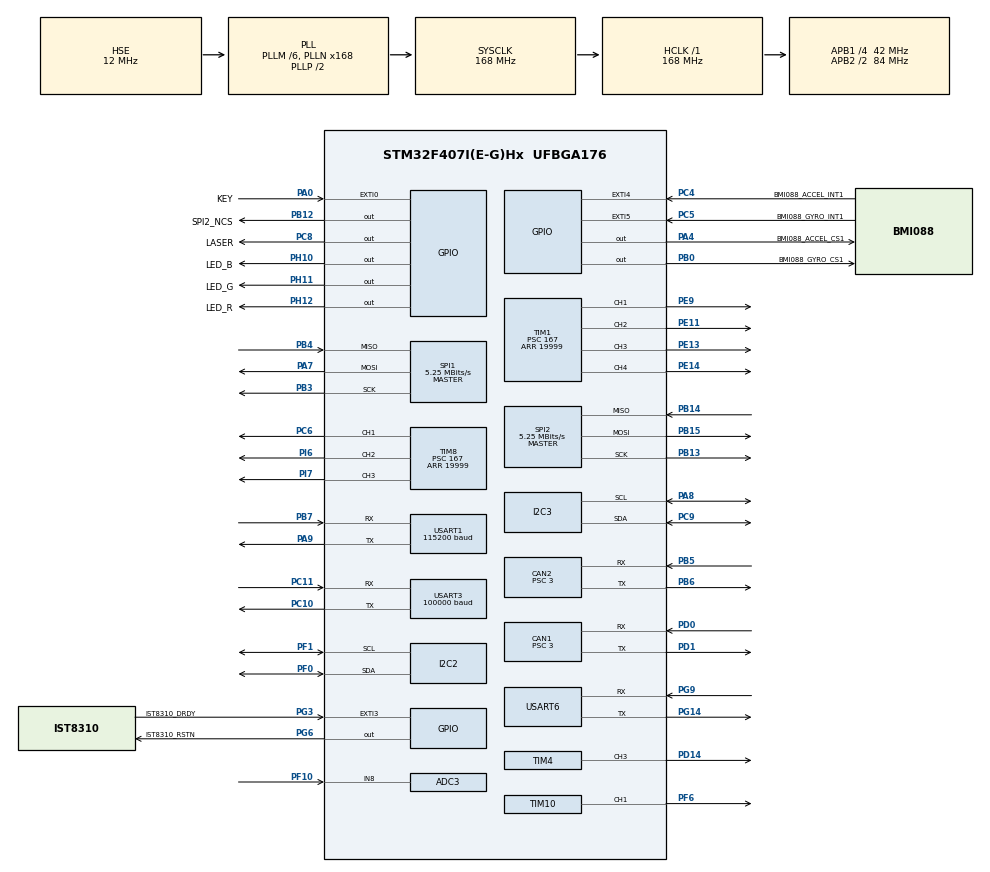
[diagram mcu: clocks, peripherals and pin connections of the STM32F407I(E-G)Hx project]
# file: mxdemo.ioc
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ADC1.Channel-0\#ChannelRegularConversion=ADC_CHANNEL_VREFINT
ADC1.NbrOfConversionFlag=1
ADC1.Rank-0\#ChannelRegularConversion=1
ADC1.SamplingTime-0\#ChannelRegularConversion=ADC_SAMPLETIME_3CYCLES
ADC1.master=1
ADC3.Channel-0\#ChannelRegularConversion=ADC_CHANNEL_8
ADC3.NbrOfConversionFlag=1
ADC3.Rank-0\#ChannelRegularConversion=1
ADC3.SamplingTime-0\#ChannelRegularConversion=ADC_SAMPLETIME_3CYCLES
CAN1.BS1=CAN_BS1_10TQ
CAN1.BS2=CAN_BS2_3TQ
CAN1.CalculateBaudRate=1000000
CAN1.CalculateTimeBit=999.99
CAN1.CalculateTimeQuantum=71.42857142857143
CAN1.Prescaler=3
CAN2.BS1=CAN_BS1_10TQ
CAN2.BS2=CAN_BS2_3TQ
CAN2.CalculateBaudRate=1000000
CAN2.CalculateTimeBit=999.99
CAN2.CalculateTimeQuantum=71.42857142857143
CAN2.Prescaler=3
Dma.Request0=USART3_RX
Dma.Request1=USART1_RX
Dma.USART1_RX.1.Direction=DMA_PERIPH_TO_MEMORY
Dma.USART1_RX.1.FIFOMode=DMA_FIFOMODE_DISABLE
Dma.USART1_RX.1.Instance=DMA2_Stream2
Dma.USART1_RX.1.MemDataAlignment=DMA_MDATAALIGN_BYTE
Dma.USART1_RX.1.MemInc=DMA_MINC_ENABLE
Dma.USART1_RX.1.Mode=DMA_CIRCULAR
Dma.USART1_RX.1.PeriphDataAlignment=DMA_PDATAALIGN_BYTE
Dma.USART1_RX.1.PeriphInc=DMA_PINC_DISABLE
Dma.USART1_RX.1.Priority=DMA_PRIORITY_VERY_HIGH
Dma.USART3_RX.0.Direction=DMA_PERIPH_TO_MEMORY
Dma.USART3_RX.0.FIFOMode=DMA_FIFOMODE_DISABLE
Dma.USART3_RX.0.Instance=DMA1_Stream1
Dma.USART3_RX.0.MemDataAlignment=DMA_MDATAALIGN_BYTE
Dma.USART3_RX.0.MemInc=DMA_MINC_ENABLE
Dma.USART3_RX.0.Mode=DMA_CIRCULAR
Dma.USART3_RX.0.PeriphDataAlignment=DMA_PDATAALIGN_BYTE
Dma.USART3_RX.0.PeriphInc=DMA_PINC_DISABLE
Dma.USART3_RX.0.Priority=DMA_PRIORITY_VERY_HIGH
I2C2.I2C_Mode=I2C_Fast
I2C3.I2C_Mode=I2C_Fast
Mcu.Family=STM32F4
Mcu.Name=STM32F407I(E-G)Hx
Mcu.Package=UFBGA176
NVIC.CAN1_RX0_IRQn=true\:0\:0\:false\:false\:true\:true\:true
NVIC.CAN2_RX0_IRQn=true\:0\:0\:false\:false\:true\:true\:true
NVIC.DMA1_Stream1_IRQn=true\:0\:0\:false\:false\:true\:false\:true
NVIC.DMA2_Stream2_IRQn=true\:0\:0\:false\:false\:true\:false\:true
NVIC.EXTI0_IRQn=true\:0\:0\:false\:false\:true\:true\:true
NVIC.EXTI3_IRQn=true\:0\:0\:false\:false\:true\:true\:true
NVIC.EXTI4_IRQn=true\:0\:0\:false\:false\:true\:true\:true
NVIC.EXTI9_5_IRQn=true\:0\:0\:false\:false\:true\:true\:true
NVIC.PriorityGroup=NVIC_PRIORITYGROUP_4
NVIC.TIM1_BRK_TIM9_IRQn=true\:0\:0\:false\:false\:true\:true\:true
NVIC.TIM1_TRG_COM_TIM11_IRQn=true\:0\:0\:false\:false\:true\:true\:true
NVIC.TIM3_IRQn=true\:0\:0\:false\:false\:true\:true\:true
NVIC.TIM6_DAC_IRQn=true\:0\:0\:false\:false\:true\:true\:true
NVIC.TIM7_IRQn=true\:0\:0\:false\:false\:true\:true\:true
NVIC.TIM8_BRK_TIM12_IRQn=true\:0\:0\:false\:false\:true\:true\:true
NVIC.TIM8_TRG_COM_TIM14_IRQn=true\:0\:0\:false\:false\:true\:true\:true
NVIC.USART1_IRQn=true\:0\:0\:false\:false\:true\:true\:true
NVIC.USART3_IRQn=true\:0\:0\:false\:false\:true\:true\:true
NVIC.USART6_IRQn=true\:0\:0\:false\:false\:true\:true\:true
PA0-WKUP.GPIO_Label=KEY
PA0-WKUP.GPIO_ModeDefaultEXTI=GPIO_MODE_IT_FALLING
PA0-WKUP.Signal=GPXTI0
PA13.Mode=Serial_Wire
PA13.Signal=SYS_JTMS-SWDIO
PA14.Mode=Serial_Wire
PA14.Signal=SYS_JTCK-SWCLK
PA4.GPIO_Label=BMI088_ACCEL_CS1
PA4.GPIO_PuPd=GPIO_PULLUP
PA4.GPIO_Speed=GPIO_SPEED_FREQ_HIGH
PA4.PinState=GPIO_PIN_SET
PA4.Signal=GPIO_Output
PA7.Mode=Full_Duplex_Master
PA7.Signal=SPI1_MOSI
PA8.Mode=I2C
PA8.Signal=I2C3_SCL
PA9.Mode=Asynchronous
PA9.Signal=USART1_TX
PB0.GPIO_Label=BMI088_GYRO_CS1
PB0.GPIO_PuPd=GPIO_PULLUP
PB0.GPIO_Speed=GPIO_SPEED_FREQ_HIGH
PB0.PinState=GPIO_PIN_SET
PB0.Signal=GPIO_Output
PB12.GPIO_Label=SPI2_NCS
PB12.GPIO_PuPd=GPIO_PULLUP
PB12.GPIO_Speed=GPIO_SPEED_FREQ_HIGH
PB12.PinState=GPIO_PIN_SET
PB12.Signal=GPIO_Output
PB13.Mode=Full_Duplex_Master
PB13.Signal=SPI2_SCK
PB14.Mode=Full_Duplex_Master
PB14.Signal=SPI2_MISO
PB15.Mode=Full_Duplex_Master
PB15.Signal=SPI2_MOSI
PB3.Mode=Full_Duplex_Master
PB3.Signal=SPI1_SCK
PB4.Mode=Full_Duplex_Master
PB4.Signal=SPI1_MISO
PB5.Mode=CAN_Activate
PB5.Signal=CAN2_RX
PB6.Mode=CAN_Activate
PB6.Signal=CAN2_TX
PB7.Mode=Asynchronous
PB7.Signal=USART1_RX
PC10.Mode=Asynchronous
PC10.Signal=USART3_TX
PC11.Mode=Asynchronous
PC11.Signal=USART3_RX
PC4.GPIO_Label=BMI088_ACCEL_INT1
PC4.GPIO_ModeDefaultEXTI=GPIO_MODE_IT_FALLING
PC4.GPIO_PuPd=GPIO_PULLUP
PC4.Signal=GPXTI4
PC5.GPIO_Label=BMI088_GYRO_INT1
PC5.GPIO_ModeDefaultEXTI=GPIO_MODE_IT_FALLING
PC5.GPIO_PuPd=GPIO_PULLUP
PC5.Signal=GPXTI5
PC6.Signal=S_TIM8_CH1
PC8.GPIO_Label=LASER
PC8.Signal=GPIO_Output
PC9.Mode=I2C
PC9.Signal=I2C3_SDA
PD0.Mode=CAN_Activate
PD0.Signal=CAN1_RX
PD1.Mode=CAN_Activate
PD1.Signal=CAN1_TX
PD14.Signal=S_TIM4_CH3
PE11.Signal=S_TIM1_CH2
PE13.Signal=S_TIM1_CH3
PE14.Signal=S_TIM1_CH4
PE9.Signal=S_TIM1_CH1
PF0.Mode=I2C
PF0.Signal=I2C2_SDA
PF1.Mode=I2C
PF1.Signal=I2C2_SCL
PF10.Mode=IN8
PF10.Signal=ADC3_IN8
PF6.Signal=S_TIM10_CH1
PG14.Mode=Asynchronous
PG14.Signal=USART6_TX
PG3.GPIO_Label=IST8310_DRDY
PG3.GPIO_ModeDefaultEXTI=GPIO_MODE_IT_FALLING
PG3.GPIO_PuPd=GPIO_PULLUP
PG3.Signal=GPXTI3
PG6.GPIO_Label=IST8310_RSTN
PG6.PinState=GPIO_PIN_SET
PG6.Signal=GPIO_Output
PG9.Mode=Asynchronous
PG9.Signal=USART6_RX
PH0-OSC_IN.Mode=HSE-External-Oscillator
PH0-OSC_IN.Signal=RCC_OSC_IN
PH1-OSC_OUT.Mode=HSE-External-Oscillator
PH1-OSC_OUT.Signal=RCC_OSC_OUT
PH10.GPIO_Label=LED_B
PH10.Signal=GPIO_Output
PH11.GPIO_Label=LED_G
PH11.Signal=GPIO_Output
PH12.GPIO_Label=LED_R
PH12.Signal=GPIO_Output
PI6.Signal=S_TIM8_CH2
PI7.Signal=S_TIM8_CH3
ProjectManager.HeapSize=0x400
ProjectManager.StackSize=0x800
ProjectManager.TargetToolchain=MDK-ARM V5.27
RCC.48MHZClocksFreq_Value=84000000
RCC.AHBFreq_Value=168000000
RCC.APB1CLKDivider=RCC_HCLK_DIV4
RCC.APB1Freq_Value=42000000
RCC.APB1TimFreq_Value=84000000
RCC.APB2CLKDivider=RCC_HCLK_DIV2
RCC.APB2Freq_Value=84000000
RCC.APB2TimFreq_Value=168000000
RCC.CortexFreq_Value=168000000
RCC.HCLKFreq_Value=168000000
RCC.HSE_VALUE=12000000
RCC.HSI_VALUE=16000000
RCC.LSE_VALUE=32768
RCC.PLLM=6
RCC.PLLN=168
RCC.PLLSourceVirtual=RCC_PLLSOURCE_HSE
RCC.SYSCLKFreq_VALUE=168000000
RCC.SYSCLKSource=RCC_SYSCLKSOURCE_PLLCLK
RCC.VCOOutputFreq_Value=336000000
SH.S_TIM10_CH1.0=TIM10_CH1,PWM Generation1 CH1
SH.S_TIM1_CH1.0=TIM1_CH1,PWM Generation1 CH1
SH.S_TIM1_CH2.0=TIM1_CH2,PWM Generation2 CH2
SH.S_TIM1_CH3.0=TIM1_CH3,PWM Generation3 CH3
SH.S_TIM1_CH4.0=TIM1_CH4,PWM Generation4 CH4
SH.S_TIM4_CH3.0=TIM4_CH3,PWM Generation3 CH3
SH.S_TIM8_CH1.0=TIM8_CH1,PWM Generation1 CH1
SH.S_TIM8_CH2.0=TIM8_CH2,PWM Generation2 CH2
SH.S_TIM8_CH3.0=TIM8_CH3,PWM Generation3 CH3
SPI1.BaudRatePrescaler=SPI_BAUDRATEPRESCALER_16
SPI1.CLKPhase=SPI_PHASE_2EDGE
SPI1.CLKPolarity=SPI_POLARITY_HIGH
SPI1.CalculateBaudRate=5.25 MBits/s
SPI1.Direction=SPI_DIRECTION_2LINES
SPI1.Mode=SPI_MODE_MASTER
SPI1.VirtualType=VM_MASTER
SPI2.BaudRatePrescaler=SPI_BAUDRATEPRESCALER_8
SPI2.CalculateBaudRate=5.25 MBits/s
SPI2.Direction=SPI_DIRECTION_2LINES
SPI2.Mode=SPI_MODE_MASTER
SPI2.VirtualType=VM_MASTER
TIM1.Channel-PWM\ Generation1\ CH1=TIM_CHANNEL_1
TIM1.Channel-PWM\ Generation2\ CH2=TIM_CHANNEL_2
TIM1.Channel-PWM\ Generation3\ CH3=TIM_CHANNEL_3
TIM1.Channel-PWM\ Generation4\ CH4=TIM_CHANNEL_4
TIM1.Period=19999
TIM1.Prescaler=167
TIM1.Pulse-PWM\ Generation1\ CH1=1500
TIM1.Pulse-PWM\ Generation2\ CH2=1500
TIM1.Pulse-PWM\ Generation3\ CH3=1500
TIM1.Pulse-PWM\ Generation4\ CH4=1500
TIM10.Channel=TIM_CHANNEL_1
TIM10.Period=1999
TIM10.Prescaler=167
TIM10.Pulse=0
TIM11.Period=4999
TIM11.Prescaler=167
TIM12.Period=1999
TIM12.Prescaler=839
TIM2.Prescaler=83
TIM3.Period=1999
TIM3.Prescaler=83
TIM4.Channel-PWM\ Generation3\ CH3=TIM_CHANNEL_3
TIM4.Period=1000
TIM4.Prescaler=83
TIM4.Pulse-PWM\ Generation3\ CH3=0
TIM5.Prescaler=83
TIM6.Period=1999
TIM6.Prescaler=83
TIM7.Period=1999
TIM7.Prescaler=83
TIM8.Channel-PWM\ Generation1\ CH1=TIM_CHANNEL_1
TIM8.Channel-PWM\ Generation2\ CH2=TIM_CHANNEL_2
TIM8.Channel-PWM\ Generation3\ CH3=TIM_CHANNEL_3
TIM8.Period=19999
TIM8.Prescaler=167
TIM8.Pulse-PWM\ Generation1\ CH1=1500
TIM8.Pulse-PWM\ Generation2\ CH2=1500
TIM8.Pulse-PWM\ Generation3\ CH3=1500
TIM9.Period=4999
TIM9.Prescaler=16799
USART1.BaudRate=115200
USART1.Parity=PARITY_NONE
USART1.VirtualMode=VM_ASYNC
USART1.WordLength=WORDLENGTH_8B
USART3.BaudRate=100000
USART3.Mode=MODE_RX
USART3.Parity=PARITY_EVEN
USART3.VirtualMode=VM_ASYNC
USART3.WordLength=WORDLENGTH_9B
USART6.VirtualMode=VM_ASYNC
VP_ADC1_TempSens_Input.Mode=IN-TempSens
VP_ADC1_Vref_Input.Mode=IN-Vrefint
VP_TIM10_VS_ClockSourceINT.Mode=Enable_Timer
VP_TIM11_VS_ClockSourceINT.Mode=Enable_Timer
VP_TIM12_VS_ClockSourceINT.Mode=Internal
VP_TIM1_VS_ClockSourceINT.Mode=Internal
VP_TIM2_VS_ClockSourceINT.Mode=Internal
VP_TIM3_VS_ClockSourceINT.Mode=Internal
VP_TIM4_VS_ClockSourceINT.Mode=Internal
VP_TIM5_VS_ClockSourceINT.Mode=Internal
VP_TIM6_VS_ClockSourceINT.Mode=Enable_Timer
VP_TIM7_VS_ClockSourceINT.Mode=Enable_Timer
VP_TIM8_VS_ClockSourceINT.Mode=Internal
VP_TIM9_VS_ClockSourceINT.Mode=Internal
board=custom

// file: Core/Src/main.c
/* USER CODE BEGIN Header */
/**
  ******************************************************************************
  * @file           : main.c
  * @brief          : Main program body
  ******************************************************************************
  * @attention
  *
  * <h2><center>&copy; Copyright (c) 2020 STMicroelectronics.
  * All rights reserved.</center></h2>
  *
  * This software component is licensed by ST under BSD 3-Clause license,
  * the "License"; You may not use this file except in compliance with the
  * License. You may obtain a copy of the License at:
  *                        opensource.org/licenses/BSD-3-Clause
  *
  ******************************************************************************
  */
/* USER CODE END Header */
#include "main.h"
#include "adc.h"
#include "can.h"
#include "dma.h"
#include "i2c.h"
#include "spi.h"
#include "tim.h"
#include "usart.h"
#include "gpio.h"

/* USER CODE BEGIN Includes */
#include "referee_system.h"
#include "remote_control.h"
#include "motor_control.h"
#include "bmi088.h"
#include "ist8310.h"
#include "PID.h"
#include "INS.h"
#include "music.h"
/* USER CODE END Includes */

/* USER CODE BEGIN PV */

uint32_t sys_time = 0;
uint32_t cycle_num = 0;

/* USER CODE END PV */

void SystemClock_Config(void);

/* USER CODE BEGIN 0 */

//
void HAL_GPIO_EXTI_Callback(uint16_t GPIO_Pin)
{
	if(GPIO_Pin == BMI088_GYRO_INT1_Pin)
	{
		BMI088_read_gyro(); //1000Hz

		AHRS_update(bmi088_gyro_calib,bmi088_accel,ist8310_mag); //INS cal
	}
	else if(GPIO_Pin == BMI088_ACCEL_INT1_Pin)
	{
		BMI088_read_accel(); //800Hz
	}
	else if(GPIO_Pin == IST8310_DRDY_Pin)
	{
		IST8310_read_mag(); //200Hz
	}
	else if(GPIO_Pin == KEY_Pin)
	{
		gyro_zero_calib_flag = 1;
	}
}

//
void HAL_TIM_PeriodElapsedCallback(TIM_HandleTypeDef *htim)
{
	uint16_t tmp;

	if(htim==&htim3) //500Hz
	{
		if(robot_ctrl.movement_mode!=MOTOR_DISABLE){set_chassis_motor_speed(robot_motion.chassis_speed);} //底盘电机闭环控速
		else{CAN_cmd_chassis(0,0,0,0);}
	}
	else if(htim==&htim6) //500Hz
	{
		if(robot_ctrl.movement_mode!=MOTOR_DISABLE){set_gimbal_motor_speed(robot_motion.yaw_speed,robot_motion.pitch_speed);} //云台电机闭环控速
		else{CAN_cmd_gimbal(0,0);}
	}
	else if(htim==&htim7) //500Hz
	{
		if(robot_ctrl.movement_mode!=MOTOR_DISABLE){set_ammobooster_speed(robot_motion.shoot_speed,robot_motion.trigger_speed);} //发射机构电机闭环控速
		else{CAN_cmd_ammobooster(0,0,0);}
	}
	else if(htim==&htim11) //200Hz
	{
		if(robot_ctrl.movement_mode!=MOTOR_DISABLE){robot_motion_resolving(&robot_motion,&robot_ctrl);} //运动解算
	}
	else if(htim==&htim9) //2Hz
	{
		BMI088_read_temperature();
		tmp = PIDControl(&pid_gyrotemp, bmi088_temperature*100);
		__HAL_TIM_SetCompare(&htim10,TIM_CHANNEL_1,tmp);

		if(ABS(pid_gyrotemp.Error)<200){HAL_GPIO_WritePin(LED_R_GPIO_Port,LED_R_Pin,GPIO_PIN_RESET); HAL_GPIO_TogglePin(LED_G_GPIO_Port,LED_G_Pin);}
		else{{HAL_GPIO_WritePin(LED_G_GPIO_Port,LED_G_Pin,GPIO_PIN_RESET); HAL_GPIO_TogglePin(LED_R_GPIO_Port,LED_R_Pin);}}
	}
	else if(htim==&htim12) //20ms
	{
		if(buzzer_state==PLAYING_INIT_MUSIC) {PlayingSong(song_robomasterlickdog,13);}
		else if(buzzer_state==PLAYING_WARNING_SOUND) {PlayingSound(sound_warning,6);}
		else if(buzzer_state==PLAYING_ERROR_SOUND) {PlayingSound(sound_error,6);}
		else if(buzzer_state==PLAYING_GYROCALIB_SOUND) {PlayingSound(sound_gyrocalibrating,6);}
		else if(buzzer_state==PLAYING_AUTOAIMING_SOUND) {PlayingSound(sound_autoaiming,6);}
	}
}

/* USER CODE END 0 */

int main(void)
{
  /* USER CODE BEGIN 1 */
	uint32_t rc_timeout_count=0;
  /* USER CODE END 1 */

  /* MCU Configuration--------------------------------------------------------*/

  /* Reset of all peripherals, Initializes the Flash interface and the Systick. */
  HAL_Init();

  /* Configure the system clock */
  SystemClock_Config();

  /* Initialize all configured peripherals */
  MX_GPIO_Init();
  MX_DMA_Init();
  MX_SPI1_Init();
  MX_TIM10_Init();
  MX_TIM5_Init();
  MX_TIM2_Init();
  MX_I2C3_Init();
  MX_TIM9_Init();
  MX_TIM6_Init();
  MX_USART3_UART_Init();
  MX_CAN1_Init();
  MX_CAN2_Init();
  MX_TIM7_Init();
  MX_TIM1_Init();
  MX_TIM8_Init();
  MX_TIM3_Init();
  MX_TIM11_Init();
  MX_USART6_UART_Init();
  MX_USART1_UART_Init();
  MX_TIM4_Init();
  MX_I2C2_Init();
  MX_SPI2_Init();
  MX_ADC1_Init();
  MX_ADC3_Init();
  MX_TIM12_Init();
  /* USER CODE BEGIN 2 */
	can_filter_init();
	CAN_cmd_chassis(0,0,0,0);
	CAN_cmd_gimbal(0,0);
	CAN_cmd_ammobooster(0,0,0);

	HAL_TIM_Base_Start_IT(&htim3);
	HAL_TIM_Base_Start_IT(&htim6);
	HAL_TIM_Base_Start_IT(&htim7);
	HAL_TIM_Base_Start_IT(&htim9);
	HAL_TIM_Base_Start_IT(&htim11);
	HAL_TIM_Base_Start_IT(&htim12);

	HAL_TIM_PWM_Start(&htim4,TIM_CHANNEL_3); //buzzer
	HAL_TIM_PWM_Start(&htim10,TIM_CHANNEL_1); //temperature

	HAL_TIM_PWM_Start(&htim1,TIM_CHANNEL_1);
	HAL_TIM_PWM_Start(&htim1,TIM_CHANNEL_2);
	HAL_TIM_PWM_Start(&htim1,TIM_CHANNEL_3);
	HAL_TIM_PWM_Start(&htim1,TIM_CHANNEL_4);

	__HAL_TIM_SET_COMPARE(&htim1,TIM_CHANNEL_1,600); //close

	HAL_TIM_PWM_Start(&htim8,TIM_CHANNEL_1);
	HAL_TIM_PWM_Start(&htim8,TIM_CHANNEL_2);
	HAL_TIM_PWM_Start(&htim8,TIM_CHANNEL_3);

	//
	SetBuzzerState(PLAYING_INIT_MUSIC); //播放启动音乐

	InitPID();
	init_vrefint_coefficient(); //校准基准电压

	BMI088_init();
	IST8310_init();

  /* USER CODE END 2 */

  /* Infinite loop */
  /* USER CODE BEGIN WHILE */
	StartTimer2();
	StartTimer5();

	//
  while (1)
  {
		ClearTimer2();
    /* USER CODE END WHILE */

    /* USER CODE BEGIN 3 */

		//陀螺仪校准
		if(gyro_zero_calib_flag==1)
		{
			HAL_Delay(1000); //等待稳定
			SetBuzzerState(PLAYING_GYROCALIB_SOUND);
			BMI088_calib_gyro_zero(bmi088_gyro,bmi088_gyro_deg); //标定陀螺仪零点 ~10s
			gyro_zero_calib_flag = 0;
			SetBuzzerState(PLAYING_STOP);
		}

		//裁判系统解析
		ParseRefereeSystemData();

		//遥控器状态
		if(rc_update_flag==1)
		{
			rc_update_flag=0;

			if(rc_timeout_count>=100){SetBuzzerState(PLAYING_STOP);}
			rc_timeout_count=0;

			//
		}
		else
		{
			rc_timeout_count++;
			if(rc_timeout_count>=100) //timeout-1s
			{
				//if(rc_timeout_count==1000){SetBuzzerState(PLAYING_WARNING_SOUND);}
				//CAN_cmd_chassis(0,0,0,0);
				//CAN_cmd_gimbal(0,0);
				//CAN_cmd_ammobooster(0,0,0);
			}
		}

		//OLED显示

		//发送上位机数据
		//uint8_t buf[2];
		//buf[0]=motor_status_gimbal[0].delt_angle>>8;
		//buf[1]=motor_status_gimbal[0].delt_angle;
		//HAL_UART_Transmit(&huart6,buf,2,100);

		if(cycle_num%100==0) //1Hz
		{
			get_temprate(); //获取片内温度
			get_battery_voltage(); //获取电源电压

		}

		//
		while(ReadTimer2()<10000); //10ms
		sys_time+=ReadTimer2();
		cycle_num++;
  }
  /* USER CODE END 3 */
}

void SystemClock_Config(void)
{
  RCC_OscInitTypeDef RCC_OscInitStruct = {0};
  RCC_ClkInitTypeDef RCC_ClkInitStruct = {0};

  /** Configure the main internal regulator output voltage
  */
  __HAL_RCC_PWR_CLK_ENABLE();
  __HAL_PWR_VOLTAGESCALING_CONFIG(PWR_REGULATOR_VOLTAGE_SCALE1);
  /** Initializes the RCC Oscillators according to the specified parameters
  * in the RCC_OscInitTypeDef structure.
  */
  RCC_OscInitStruct.OscillatorType = RCC_OSCILLATORTYPE_HSE;
  RCC_OscInitStruct.HSEState = RCC_HSE_ON;
  RCC_OscInitStruct.PLL.PLLState = RCC_PLL_ON;
  RCC_OscInitStruct.PLL.PLLSource = RCC_PLLSOURCE_HSE;
  RCC_OscInitStruct.PLL.PLLM = 6;
  RCC_OscInitStruct.PLL.PLLN = 168;
  RCC_OscInitStruct.PLL.PLLP = RCC_PLLP_DIV2;
  RCC_OscInitStruct.PLL.PLLQ = 4;
  if (HAL_RCC_OscConfig(&RCC_OscInitStruct) != HAL_OK)
  {
    Error_Handler();
  }
  /** Initializes the CPU, AHB and APB buses clocks
  */
  RCC_ClkInitStruct.ClockType = RCC_CLOCKTYPE_HCLK|RCC_CLOCKTYPE_SYSCLK
                              |RCC_CLOCKTYPE_PCLK1|RCC_CLOCKTYPE_PCLK2;
  RCC_ClkInitStruct.SYSCLKSource = RCC_SYSCLKSOURCE_PLLCLK;
  RCC_ClkInitStruct.AHBCLKDivider = RCC_SYSCLK_DIV1;
  RCC_ClkInitStruct.APB1CLKDivider = RCC_HCLK_DIV4;
  RCC_ClkInitStruct.APB2CLKDivider = RCC_HCLK_DIV2;

  if (HAL_RCC_ClockConfig(&RCC_ClkInitStruct, FLASH_LATENCY_5) != HAL_OK)
  {
    Error_Handler();
  }
}

void Error_Handler(void)
{
  __disable_irq();
  while (1)
  {
  }
}

/************************ (C) COPYRIGHT STMicroelectronics *****END OF FILE****/
